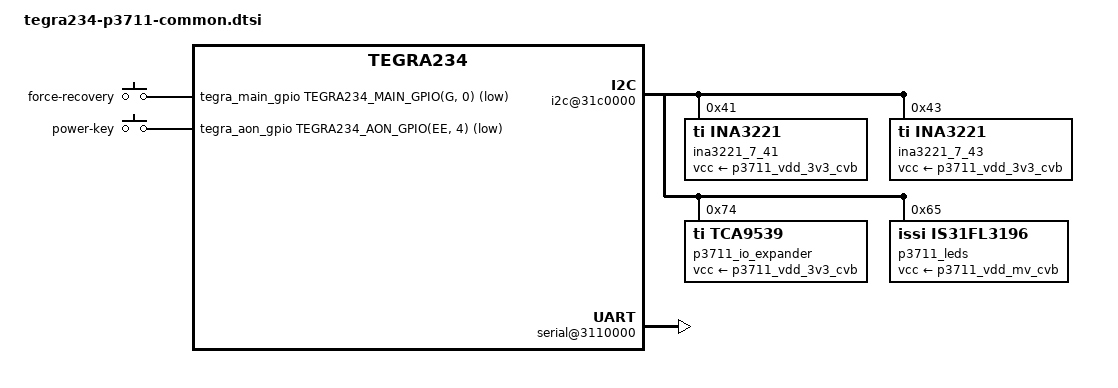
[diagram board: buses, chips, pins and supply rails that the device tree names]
/*
 * Copyright (c) 2021, NVIDIA CORPORATION.  All rights reserved.
 *
 * This program is free software; you can redistribute it and/or modify
 * it under the terms of the GNU General Public License as published by
 * the Free Software Foundation; version 2 of the License.
 *
 * This program is distributed in the hope that it will be useful, but WITHOUT
 * ANY WARRANTY; without even the implied warranty of MERCHANTABILITY or
 * FITNESS FOR A PARTICULAR PURPOSE.  See the GNU General Public License for
 * more details.
 */
#include <dt-bindings/gpio/tegra234-gpio.h>
#include <dt-bindings/input/input.h>
#include <t234-common-cvb/tegra234-p3711-fixed-regulator.dtsi>
#include <t234-common-cvb/tegra234-p3711-pwm-fan.dtsi>
#include <t234-common-cvb/tegra234-p3711-audio.dtsi>
#include <t234-common-cvb/tegra234-p3711-eeprom.dtsi>
#include <t234-common-cvb/tegra234-p3711-display.dtsi>
#include <t234-common-cvb/tegra234-p3711-pcie.dtsi>
#include <t234-common-cvb/tegra234-p3711-ethernet.dtsi>
#include <t234-common-cvb/tegra234-p3711-usb.dtsi>

/ {
	gpio-keys {
		compatible = "gpio-keys";
		gpio-keys,name = "gpio-keys";

		forcerecovery {
			label = "force-recovery";
			gpios = <&tegra_main_gpio TEGRA234_MAIN_GPIO(G, 0) GPIO_ACTIVE_LOW>;
			linux,code = <BTN_1>;
		};

		power_key {
			label = "power-key";
			gpios = <&tegra_aon_gpio TEGRA234_AON_GPIO(EE, 4) GPIO_ACTIVE_LOW>;
			linux,code = <KEY_POWER>;
			gpio-key,wakeup;
		};
	};

	i2c@31c0000 {
		/* Two INA sensors connected to I2C-7 at slave addresses
		 * 0x41 and 0x43 */
		ina3221_7_41: ina3221@41 {
			compatible = "ti,ina3221";
			reg = <0x41>;
			#address-cells = <1>;
			#size-cells = <0>;
			#io-channel-cells = <1>;
			vcc-supply = <&p3711_vdd_3v3_cvb>;
			channel@0 {
				reg = <0x0>;
				label = "CVB_HV";
				shunt-resistor-micro-ohms = <2000>;
			};
			channel@1 {
				reg = <0x1>;
				label = "CVB_MV";
				shunt-resistor-micro-ohms = <2000>;
			};
			channel@2 {
				reg = <0x2>;
				label = "CVB_12V";
				shunt-resistor-micro-ohms = <2000>;
			};
		};

		ina3221_7_43: ina3221@43 {
			compatible = "ti,ina3221";
			reg = <0x43>;
			#address-cells = <1>;
			#size-cells = <0>;
			#io-channel-cells = <1>;
			vcc-supply = <&p3711_vdd_3v3_cvb>;
			channel@0 {
				reg = <0x0>;
				label = "CAM_VDD";
				shunt-resistor-micro-ohms = <2000>;
			};
			channel@1 {
				reg = <0x1>;
				label = "CVB_3V3";
				shunt-resistor-micro-ohms = <2000>;
			};
			channel@2 {
				reg = <0x2>;
				label = "CVB_1V8";
				shunt-resistor-micro-ohms = <2000>;
			};
		};

		/* IO Expander is connected at address 0x74 */
		p3711_io_expander: ioexpander@74 {
			compatible = "ti,tca9539";
			reg = <0x74>;
			gpio-controller;
			#gpio-cells = <2>;
			vcc-supply = <&p3711_vdd_3v3_cvb>;
		};

		p3711_leds: leds@68 {
			compatible = "issi,is31fl3196";
			#address-cells = <1>;
			#size-cells = <0>;
			reg = <0x65>;
			vcc-supply = <&p3711_vdd_mv_cvb>;
			red_aux_led: led@1 {
				label = "red:aux";
				reg = <1>;
				led-max-microamp = <10000>;
			};

			green_power_led: led@5 {
				label = "green:power";
				reg = <5>;
				linux,default-trigger = "default-on";
			};
		};
	};

	thermal-fan-est {
		profiles {
			default = "quiet";
			quiet {
				active_trip_temps = <0 46000 60000 68000 76000
						140000 150000 160000 170000 180000>;
				active_hysteresis = <0 8000 8000 7000 7000
						0 0 0 0 0>;
			};
			cool {
				active_trip_temps = <0 35000 45000 53000 61000
						140000 150000 160000 170000 180000>;
				active_hysteresis = <0 8000 8000 7000 7000
						0 0 0 0 0>;
			};
		};
	};

	serial@3110000 {
		status = "okay";
	};

	i2c@31c0000 {
		status = "okay";
	};
};

